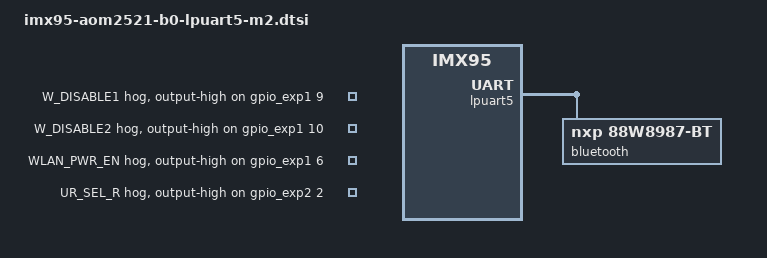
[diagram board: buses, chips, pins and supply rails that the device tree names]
#include "imx95-aom2521-b0-lpuart5.dtsi"

&gpio_exp1 {

            W_DISABLE1 {
                gpio-hog;
                gpios = <9 GPIO_ACTIVE_HIGH>;
                output-high;
                line-name = "W_DISABLE1";
            };

            W_DISABLE2 {
                gpio-hog;
                gpios = <10 GPIO_ACTIVE_HIGH>;
                output-high;
                line-name = "W_DISABLE2";
            };

            WLAN_PWR_EN {
                gpio-hog;
                gpios = <6 GPIO_ACTIVE_HIGH>;
                output-high;
                line-name = "WLAN_PWR_EN";
            };
};

&gpio_exp2 {

            UR_SEL_R {
                gpio-hog;
                gpios = <2 GPIO_ACTIVE_HIGH>;
                output-high;
                line-name = "UR_SEL_R";
            };
};

&lpuart5 {
	/delete-property/ linux,rs485-enabled-at-boot-time;
	/delete-property/ rs485-rx-during-tx;

	bluetooth {
		compatible = "nxp,88w8987-bt";
		fw-init-baudrate = <3000000>;
	};
};
